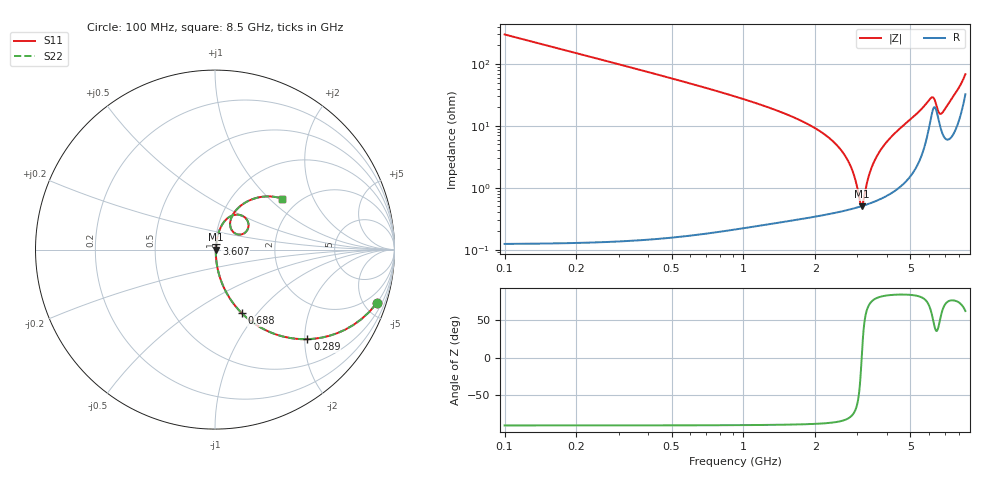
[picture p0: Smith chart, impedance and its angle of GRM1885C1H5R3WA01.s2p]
!Murata Part Number: GRM1885C1H5R3WA01
!These Parameters are Measured in Series Mode Connection
!Data Generated on Mar 30, 2021
!  o--ll--o
!Port1  Port2
!  o------o
!Operation Temp=25[degC], DC Bias Voltage=0[V]
!Freq. Start=100[MHz] Stop=9[GHz] 401[Steps]
# Hz S RI R 50
!Freq.(Hz) S11(Real) S11(Imag) S21(Real) S21(Imag) S12(Real) S12(Imag) S22(Real) S22(Imag)
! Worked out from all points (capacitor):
!   401 points, 100 MHz to 8.5 GHz, reference 50 ohm
!   read as one part in series: C = 5.3 pF near 142 MHz
!   lowest |Z| = 504 mohm at 3.124 GHz (marker M1)
!   series resonance near 3.127 GHz, so ESL is about 490 pH
!   S11 on the Smith chart (normalised r, x): 100 MHz: 1.00, -6.00; 289 MHz: 1.00, -2.06; 688 MHz: 1.00, -0.83; 3.607 GHz: 1.01, +0.06; 8.5 GHz: 1.65, +1.20
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1e8  0.8999 -0.2999  0.1001 0.2999  0.1001 0.2999  0.8999 -0.2999
2.05e8  0.6801 -0.466  0.3199 0.466  0.3199 0.466  0.6801 -0.466
2.89e8  0.515 -0.4991  0.485 0.4991  0.485 0.4991  0.515 -0.4991
4.57e8  0.2933 -0.4541  0.7067 0.4541  0.7067 0.4541  0.2933 -0.4541
6.88e8  0.1487 -0.3536  0.8513 0.3536  0.8513 0.3536  0.1487 -0.3536
1.507e9  0.0261 -0.1507  0.9739 0.1507  0.9739 0.1507  0.0261 -0.1507
2.452e9  0.00636 -0.0489  0.9936 0.0489  0.9936 0.0489  0.00636 -0.0489
2.725e9  0.00512 -0.0279  0.9949 0.0279  0.9949 0.0279  0.00512 -0.0279
2.914e9  0.00484 -0.0144  0.9952 0.0144  0.9952 0.0144  0.00484 -0.0144
3.082e9  0.00494 -0.003  0.9951 0.003  0.9951 0.003  0.00494 -0.003
3.124e9  0.00501 -0.000218  0.995 0.000218  0.995 0.000218  0.00501 -0.000218
3.166e9  0.0051 0.00255  0.9949 -0.00255  0.9949 -0.00255  0.0051 0.00255
3.376e9  0.00579 0.0161  0.9942 -0.0161  0.9942 -0.0161  0.00579 0.0161
3.607e9  0.00705 0.0305  0.9929 -0.0305  0.9929 -0.0305  0.00705 0.0305
4.3e9  0.0142 0.0734  0.9858 -0.0734  0.9858 -0.0734  0.0142 0.0734
5.707e9  0.0769 0.1798  0.9231 -0.1798  0.9231 -0.1798  0.0769 0.1798
6.19e9  0.1797 0.1631  0.8203 -0.1631  0.8203 -0.1631  0.1797 0.1631
6.442e9  0.1544 0.0869  0.8456 -0.0869  0.8456 -0.0869  0.1544 0.0869
6.673e9  0.0993 0.1004  0.9007 -0.1004  0.9007 -0.1004  0.0993 0.1004
7.114e9  0.0893 0.1724  0.9107 -0.1724  0.9107 -0.1724  0.0893 0.1724
7.87e9  0.1819 0.2693  0.8181 -0.2693  0.8181 -0.2693  0.1819 0.2693
8.5e9  0.3736 0.2844  0.6264 -0.2844  0.6264 -0.2844  0.3736 0.2844
